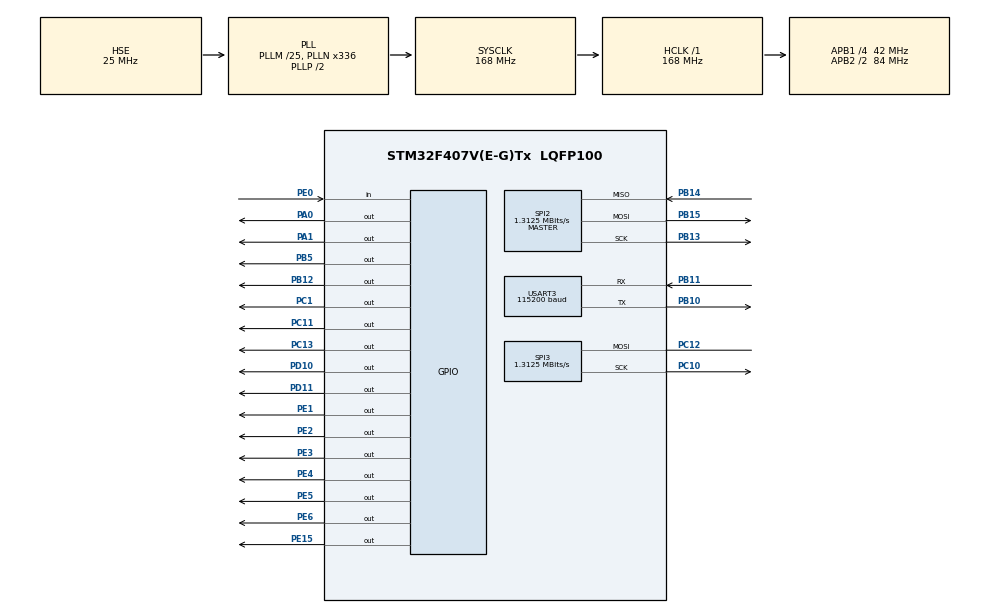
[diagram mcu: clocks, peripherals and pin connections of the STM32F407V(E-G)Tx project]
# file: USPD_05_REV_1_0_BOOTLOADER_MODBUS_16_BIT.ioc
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Dma.Request0=USART3_TX
Dma.Request1=USART3_RX
Dma.USART3_RX.1.Direction=DMA_PERIPH_TO_MEMORY
Dma.USART3_RX.1.FIFOMode=DMA_FIFOMODE_DISABLE
Dma.USART3_RX.1.Instance=DMA1_Stream1
Dma.USART3_RX.1.MemDataAlignment=DMA_MDATAALIGN_BYTE
Dma.USART3_RX.1.MemInc=DMA_MINC_ENABLE
Dma.USART3_RX.1.Mode=DMA_NORMAL
Dma.USART3_RX.1.PeriphDataAlignment=DMA_PDATAALIGN_BYTE
Dma.USART3_RX.1.PeriphInc=DMA_PINC_DISABLE
Dma.USART3_RX.1.Priority=DMA_PRIORITY_LOW
Dma.USART3_TX.0.Direction=DMA_MEMORY_TO_PERIPH
Dma.USART3_TX.0.FIFOMode=DMA_FIFOMODE_DISABLE
Dma.USART3_TX.0.Instance=DMA1_Stream3
Dma.USART3_TX.0.MemDataAlignment=DMA_MDATAALIGN_BYTE
Dma.USART3_TX.0.MemInc=DMA_MINC_ENABLE
Dma.USART3_TX.0.Mode=DMA_NORMAL
Dma.USART3_TX.0.PeriphDataAlignment=DMA_PDATAALIGN_BYTE
Dma.USART3_TX.0.PeriphInc=DMA_PINC_DISABLE
Dma.USART3_TX.0.Priority=DMA_PRIORITY_LOW
FREERTOS.INCLUDE_vTaskCleanUpResources=1
FREERTOS.INCLUDE_vTaskDelayUntil=1
FREERTOS.INCLUDE_xQueueGetMutexHolder=1
FREERTOS.INCLUDE_xSemaphoreGetMutexHolder=1
FREERTOS.Tasks01=defaultTask,0,128,StartDefaultTask,Default,NULL,Dynamic,NULL,NULL
FREERTOS.configTIMER_TASK_PRIORITY=5
FREERTOS.configTOTAL_HEAP_SIZE=30000
FREERTOS.configUSE_COUNTING_SEMAPHORES=1
FREERTOS.configUSE_NEWLIB_REENTRANT=1
FREERTOS.configUSE_TIMERS=1
IWDG.Prescaler=IWDG_PRESCALER_32
IWDG.Reload=4000
Mcu.Family=STM32F4
Mcu.Name=STM32F407V(E-G)Tx
Mcu.Package=LQFP100
NVIC.DMA1_Stream1_IRQn=true\:5\:0\:false\:false\:true\:true\:false\:true\:true
NVIC.DMA1_Stream3_IRQn=true\:5\:0\:false\:false\:true\:true\:false\:true\:true
NVIC.PriorityGroup=NVIC_PRIORITYGROUP_4
NVIC.TIM1_UP_TIM10_IRQn=true\:15\:0\:false\:false\:true\:false\:false\:true\:true
NVIC.TimeBase=TIM1_UP_TIM10_IRQn
NVIC.TimeBaseIP=TIM1
NVIC.USART3_IRQn=true\:5\:0\:false\:false\:true\:true\:true\:true\:true
PA0-WKUP.Signal=GPIO_Output
PA1.Signal=GPIO_Output
PA13.Mode=Serial_Wire
PA13.Signal=SYS_JTMS-SWDIO
PA14.Mode=Serial_Wire
PA14.Signal=SYS_JTCK-SWCLK
PB10.Mode=Asynchronous
PB10.Signal=USART3_TX
PB11.Mode=Asynchronous
PB11.Signal=USART3_RX
PB12.PinState=GPIO_PIN_SET
PB12.Signal=GPIO_Output
PB13.Mode=Full_Duplex_Master
PB13.Signal=SPI2_SCK
PB14.Mode=Full_Duplex_Master
PB14.Signal=SPI2_MISO
PB15.Mode=Full_Duplex_Master
PB15.Signal=SPI2_MOSI
PB5.Signal=GPIO_Output
PC1.Signal=GPIO_Output
PC10.Mode=Simplex_Bidirectional_Master
PC10.Signal=SPI3_SCK
PC11.PinState=GPIO_PIN_SET
PC11.Signal=GPIO_Output
PC12.Mode=Simplex_Bidirectional_Master
PC12.Signal=SPI3_MOSI
PC13-ANTI_TAMP.Signal=GPIO_Output
PC14-OSC32_IN.Mode=LSE-External-Oscillator
PC14-OSC32_IN.Signal=RCC_OSC32_IN
PC15-OSC32_OUT.Mode=LSE-External-Oscillator
PC15-OSC32_OUT.Signal=RCC_OSC32_OUT
PD10.GPIO_PuPd=GPIO_PULLDOWN
PD10.Signal=GPIO_Output
PD11.GPIO_PuPd=GPIO_PULLDOWN
PD11.Signal=GPIO_Output
PE0.Signal=GPIO_Input
PE1.Signal=GPIO_Output
PE15.GPIO_PuPd=GPIO_PULLDOWN
PE15.Signal=GPIO_Output
PE2.Signal=GPIO_Output
PE3.Signal=GPIO_Output
PE4.Signal=GPIO_Output
PE5.Signal=GPIO_Output
PE6.Signal=GPIO_Output
PH0-OSC_IN.Mode=HSE-External-Oscillator
PH0-OSC_IN.Signal=RCC_OSC_IN
PH1-OSC_OUT.Mode=HSE-External-Oscillator
PH1-OSC_OUT.Signal=RCC_OSC_OUT
ProjectManager.HeapSize=0x200
ProjectManager.StackSize=0x400
ProjectManager.TargetToolchain=STM32CubeIDE
RCC.48MHZClocksFreq_Value=84000000
RCC.AHBFreq_Value=168000000
RCC.APB1CLKDivider=RCC_HCLK_DIV4
RCC.APB1Freq_Value=42000000
RCC.APB1TimFreq_Value=84000000
RCC.APB2CLKDivider=RCC_HCLK_DIV2
RCC.APB2Freq_Value=84000000
RCC.APB2TimFreq_Value=168000000
RCC.CortexFreq_Value=168000000
RCC.HCLKFreq_Value=168000000
RCC.HSE_VALUE=25000000
RCC.HSI_VALUE=16000000
RCC.PLLM=25
RCC.PLLN=336
RCC.PLLSourceVirtual=RCC_PLLSOURCE_HSE
RCC.RCC_RTC_Clock_SourceVirtual=RCC_RTCCLKSOURCE_LSE
RCC.SYSCLKFreq_VALUE=168000000
RCC.SYSCLKSource=RCC_SYSCLKSOURCE_PLLCLK
RCC.VCOOutputFreq_Value=336000000
SPI2.BaudRatePrescaler=SPI_BAUDRATEPRESCALER_32
SPI2.CalculateBaudRate=1.3125 MBits/s
SPI2.Direction=SPI_DIRECTION_2LINES
SPI2.Mode=SPI_MODE_MASTER
SPI2.VirtualType=VM_MASTER
SPI3.BaudRatePrescaler=SPI_BAUDRATEPRESCALER_32
SPI3.CalculateBaudRate=1.3125 MBits/s
SPI3.Direction=SPI_DIRECTION_1LINE
SPI3.Mode=SPI_MODE_MASTER
SPI3.VirtualType=VM_MASTER
USART3.BaudRate=115200
USART3.VirtualMode=VM_ASYNC
VP_FREERTOS_VS_CMSIS_V1.Mode=CMSIS_V1
VP_IWDG_VS_IWDG.Mode=IWDG_Activate
VP_RTC_VS_RTC_Activate.Mode=RTC_Enabled
VP_RTC_VS_RTC_Calendar.Mode=RTC_Calendar
VP_SYS_VS_tim1.Mode=TIM1
board=custom

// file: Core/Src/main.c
/* USER CODE BEGIN Header */
/**
  ******************************************************************************
  * @file           : main.c
  * @brief          : Main program body
  ******************************************************************************
  * @attention
  *
  * Copyright (c) 2024 STMicroelectronics.
  * All rights reserved.
  *
  * This software is licensed under terms that can be found in the LICENSE file
  * in the root directory of this software component.
  * If no LICENSE file comes with this software, it is provided AS-IS.
  *
  ******************************************************************************
  */
/* USER CODE END Header */
#include "main.h"
#include "cmsis_os.h"

/* USER CODE BEGIN Includes */

#include "gpio.h"
#include "m95.h"
#include "fm25v02.h"
#include "modbus.h"

/* USER CODE END Includes */

 IWDG_HandleTypeDef hiwdg;

RTC_HandleTypeDef hrtc;

SPI_HandleTypeDef hspi2;
SPI_HandleTypeDef hspi3;

UART_HandleTypeDef huart3;
DMA_HandleTypeDef hdma_usart3_tx;
DMA_HandleTypeDef hdma_usart3_rx;

osThreadId defaultTaskHandle;
/* USER CODE BEGIN PV */

osMessageQId ModbusQueueHandle;
osTimerId AT_TimerHandle;
osTimerId Ring_Center_TimerHandle;
osMutexId UartMutexHandle;
osSemaphoreId TransmissionStateHandle;

osThreadId M95TaskHandle;
osThreadId ModbusTaskHandle;
osThreadId MainTaskHandle;
osThreadId ModbusPacketTaskHandle;
osThreadId ReadRegistersTaskHandle;

osMutexId Fm25v02MutexHandle;

osSemaphoreId ModbusPacketReceiveHandle;

uint8_t modem_rx_data[256];
char modem_rx_buffer[256];
uint8_t modbus_buffer[10][6000];
uint8_t modem_rx_number = 0;
//uint8_t modbus_buffer_number = 0;

volatile uint8_t read_rx_state;

extern bootloader_register_struct bootloader_registers;

typedef void (*pFunction) (void);
pFunction Jump_To_Application;
uint32_t JumpAddress;
uint32_t ApplicationAddress2 = 0x08010000;

uint32_t calculating_firmware_crc;
uint32_t start_address;
uint32_t end_address;
uint32_t firmware_length;
uint16_t firmware_crc;

uint32_t start_default_task_delay = 200;

uint8_t test_data1;

uint8_t temp_id_high;
uint8_t temp_id_low;

uint8_t temp_ip1;
uint8_t temp_ip2;
uint8_t temp_ip3;
uint8_t temp_ip4;

uint8_t temp_port_high;
uint8_t temp_port_low;

extern control_register_struct control_registers;

volatile uint8_t modem_reset_state = 0;

uint8_t spi_buf[4];

extern volatile uint8_t modem_transmit_delay_state;
extern volatile uint8_t connect_timer;

/* USER CODE END PV */

void SystemClock_Config(void);
static void MX_GPIO_Init(void);
static void MX_IWDG_Init(void);
static void MX_RTC_Init(void);
static void MX_DMA_Init(void);
static void MX_USART3_UART_Init(void);
static void MX_SPI2_Init(void);
static void MX_SPI3_Init(void);
void StartDefaultTask(void const * argument);

/* USER CODE BEGIN PFP */

void Callback_AT_Timer(void const * argument);
void Callback_Ring_Center_Timer(void const * argument);

void ThreadM95Task(void const * argument);
void ThreadModbusTask(void const * argument);
void ThreadMainTask(void const * argument);
void ThreadModbusPacketTask(void const * argument);
void ThreadReadRegistersTask(void const * argument);

/* USER CODE END PFP */

/* USER CODE BEGIN 0 */

void HAL_UART_TxCpltCallback(UART_HandleTypeDef *huart)
{
	  if (huart->Instance == USART3)
	  {
		  osSemaphoreRelease(TransmissionStateHandle);
	  }
}

void HAL_UART_RxCpltCallback(UART_HandleTypeDef *huart)
{
	  if (huart->Instance == USART3)
	  {
		  connect_timer = 0;

		  modem_rx_buffer[modem_rx_number++] = modem_rx_data[0];
		  osMessagePut(ModbusQueueHandle, (uint32_t)modem_rx_data[0], osWaitForever);
		  HAL_UART_Receive_DMA(&huart3, &modem_rx_data[0], 1);
	  }
}

//void HAL_MspInit(void)
//{

//}

/* USER CODE END 0 */

int main(void)
{
  /* USER CODE BEGIN 1 */

  	uint8_t temp_h;
  	uint8_t temp_l;
  	uint16_t temp_jump_attempt;

  /* USER CODE END 1 */

  /* MCU Configuration--------------------------------------------------------*/

  /* Reset of all peripherals, Initializes the Flash interface and the Systick. */
  HAL_Init();

  /* Configure the system clock */
  SystemClock_Config();

  /* Initialize all configured peripherals */
  MX_GPIO_Init();
  MX_IWDG_Init();
  MX_RTC_Init();
  MX_DMA_Init();
  MX_USART3_UART_Init();
  MX_SPI2_Init();
  MX_SPI3_Init();
  /* USER CODE BEGIN 2 */

	spi_buf[0] = 0x07;
	spi_buf[1] = 0x40;
	spi_buf[2] = 0x40;
	spi_buf[3] = 0x03;

	HAL_GPIO_WritePin(GPIOC, GPIO_PIN_11, GPIO_PIN_RESET);
	HAL_Delay(100);
	if( HAL_SPI_Transmit(&hspi3, &spi_buf[0], 4, 100) != HAL_OK ){}

	HAL_GPIO_WritePin(GPIOC, GPIO_PIN_11, GPIO_PIN_SET);
	HAL_Delay(1);
	HAL_GPIO_WritePin(GPIOC, GPIO_PIN_11, GPIO_PIN_RESET);

  BUZ_ON(); // пикаем бузером
  HAL_Delay(50);
  BUZ_OFF();

  if( ((RCC->BDCR)&0x02) != 0 ) // Проверяем, запустился ли часовой кварц, если запустился включаем светодиод
  {
	  //LED_VD4_ON();
  }
  else
  {
	  //LED_VD4_OFF();
  }

	//for(uint16_t i=0x1000; i<=0x10FF; i++)
	//{
		//fm25v02_write(2*i, 0x00);
		//fm25v02_write(2*i+1, 0x00);
	//}

	fm25v02_write(2*IP_1_REG, 0x00);
	fm25v02_write(2*IP_1_REG+1, 195);
	fm25v02_write(2*IP_2_REG, 0x00);
	fm25v02_write(2*IP_2_REG+1, 208);
	fm25v02_write(2*IP_3_REG, 0x00);
	fm25v02_write(2*IP_3_REG+1, 163);
	fm25v02_write(2*IP_4_REG, 0x00);
	fm25v02_write(2*IP_4_REG+1, 67);
	fm25v02_write(2*PORT_HIGH_REG, 0x00);
	fm25v02_write(2*PORT_HIGH_REG+1, 136);
	fm25v02_write(2*PORT_LOW_REG, 0x00);
	fm25v02_write(2*PORT_LOW_REG+1, 234);

	fm25v02_write(2*ID_HIGH_REG, 0x00);
	fm25v02_write(2*ID_HIGH_REG+1, 0x00);

	fm25v02_write(2*ID_LOW_REG, 0x00);
	fm25v02_write(2*ID_LOW_REG+1, 0x00);

  	read_bootloader_registers_no_rtos(); // читаем ригистры бутлоадера до запуска операционной системы

	start_address = ((((uint32_t)(bootloader_registers.start_address_firmware_high_reg))<<24)&0xFF000000) | ((((uint32_t)(bootloader_registers.start_address_firmware_2_reg))<<16)&0x00FF0000) | ((((uint32_t)(bootloader_registers.start_address_firmware_3_reg))<<8)&0x0000FF00) | (((uint32_t)(bootloader_registers.start_address_firmware_low_reg))&0x000000FF);

	end_address = ((((uint32_t)(bootloader_registers.end_address_firmware_2_reg))<<24)&0xFF000000) | ((((uint32_t)(bootloader_registers.end_address_firmware_3_reg))<<16)&0x00FF0000) | ((((uint32_t)(bootloader_registers.end_address_firmware_high_reg))<<8)&0x0000FF00) | (((uint32_t)(bootloader_registers.end_address_firmware_low_reg))&0x000000FF);

	//end_address = 0x08029EEB;

	firmware_length = end_address - start_address + 1;

	firmware_crc = (((bootloader_registers.crc_firmware_low_reg)<<8)&0xFF00) | ((bootloader_registers.crc_firmware_high_reg)&0x00FF);

	if( (start_address >= 0x08000000) && (start_address <= 0x080FFFFF) && ((start_address + firmware_length) <= 0x080FFFFF) && (firmware_length <= 0xFFFFF) ) // стартовый адресс для расчета контрольной суммы должен входить в диапазон основной памяти контроллера, длина прошивки не должна превышать длину памяти программ контроллера иначе при чтении будет хардфолт
	{
		calculating_firmware_crc = CRC16((unsigned char*)start_address, firmware_length);
	}
	else
	{
		calculating_firmware_crc = 0;
	}

	if( (firmware_crc == calculating_firmware_crc) && (firmware_crc != 0) ) // если рассчетная контрольная сумма прошивки совпадает с указанной и не равна 0
	{

		fm25v02_write(2*FIRMWARE_CORRECTNESS_REG, 0x00); // записываем в регистры и переменную корректность прошивки
		fm25v02_write(2*FIRMWARE_CORRECTNESS_REG+1, 0x01);
		bootloader_registers.firmware_correctness_reg = 0x0001;

	}

	else // если рассчетная контрольная сумма прошивки не совпадает с указанной
	{

		fm25v02_write(2*FIRMWARE_CORRECTNESS_REG, 0x00); // записываем в регистры и переменную ошибку контрольной суммы прошивки
		fm25v02_write(2*FIRMWARE_CORRECTNESS_REG+1, 0x00);
		bootloader_registers.firmware_correctness_reg = 0x0000;

	}

	//----тест, потом удалить
	//fm25v02_write(2*FIRMWARE_CORRECTNESS_REG, 0x00); // записываем в регистры и переменную корректность прошивки
	//fm25v02_write(2*FIRMWARE_CORRECTNESS_REG+1, 0x01);
	//bootloader_registers.firmware_correctness_reg = 0x0001;
	//-----------------------

  	if( bootloader_registers.working_mode_reg == 0 ) // если включен нормальный режим работы
  	{
  		if(bootloader_registers.jump_attempt_reg < bootloader_registers.max_jump_attempt_reg)
  		{
  			if( bootloader_registers.firmware_correctness_reg == 1 ) // если прошивка корректна (контрольная сумма совпадает)
  			{

  				fm25v02_write(2*FIRMWARE_CORRECTNESS_REG, 0x00); // обнуляем корректность прошивки
  				fm25v02_write(2*FIRMWARE_CORRECTNESS_REG+1, 0x00);
  				bootloader_registers.firmware_correctness_reg = 0x0000;

  				fm25v02_write(2*WORKING_MODE_REG, 0x00); // обнуляем корректность прошивки
  				fm25v02_write(2*WORKING_MODE_REG+1, 0x00);
  				bootloader_registers.working_mode_reg = 0x0000;

  				fm25v02_read(271, &test_data1); // обнуляем регистр режима работы с номером 271 в fram памяти, нужно только для старой прошивки

  				HAL_UART_DeInit(&huart3);
  				HAL_SPI_DeInit(&hspi2);
  				HAL_DMA_DeInit(&hdma_usart3_rx);
  				HAL_DMA_DeInit(&hdma_usart3_tx);

  				HAL_RCC_DeInit();

  				HAL_DeInit(); // деинициализируем HAL

  				JumpAddress = *(__IO uint32_t*) (ApplicationAddress2+4); // адрес перехода
  				Jump_To_Application = (pFunction) JumpAddress; // приводим адрес к типу функции
  				__set_MSP (*(__IO uint32_t*) ApplicationAddress2);// устанавливаем указатель стека

  				SCB->VTOR = FLASH_BASE | 0x10000; // смещаем таблицу векторов прерываний

  				Jump_To_Application(); // переход к основной программе

  			}
  			else if( bootloader_registers.firmware_correctness_reg == 0 )
  			{
  				fm25v02_read(2*JUMP_ATTEMPT_REG, &temp_h); // увеличиваем количество попыток перейти в основную программу
  				fm25v02_read(2*JUMP_ATTEMPT_REG+1, &temp_l);
  				temp_jump_attempt = (((uint16_t)temp_h)<<8)|((uint16_t)(temp_l));
  				temp_jump_attempt = temp_jump_attempt + 1;
  				temp_h = (uint8_t)(temp_jump_attempt>>8);
  				temp_l = (uint8_t)(temp_jump_attempt);
  				fm25v02_write(2*JUMP_ATTEMPT_REG, temp_h);
  				fm25v02_write(2*JUMP_ATTEMPT_REG+1, temp_l);

  				HAL_Delay(100);

  				osMutexWait(Fm25v02MutexHandle, osWaitForever); // ждем освобождение мьютекса записи в память
  				NVIC_SystemReset();

  			}
  		}

  		else
  		{
  			start_default_task_delay = 100;
  		}
  	}

  /* USER CODE END 2 */

  /* USER CODE BEGIN RTOS_MUTEX */
  /* add mutexes, ... */

    osMutexDef(UartMutex);
    UartMutexHandle = osMutexCreate(osMutex(UartMutex));

    osMutexDef(Fm25v02Mutex);
    Fm25v02MutexHandle = osMutexCreate(osMutex(Fm25v02Mutex));

  /* USER CODE END RTOS_MUTEX */

  /* USER CODE BEGIN RTOS_SEMAPHORES */
  /* add semaphores, ... */

    osSemaphoreDef(TransmissionState);
    TransmissionStateHandle = osSemaphoreCreate(osSemaphore(TransmissionState), 1);

    osSemaphoreDef(ModbusPacketReceive);
    ModbusPacketReceiveHandle = osSemaphoreCreate(osSemaphore(ModbusPacketReceive), 1);

  /* USER CODE END RTOS_SEMAPHORES */

  /* USER CODE BEGIN RTOS_TIMERS */
  /* start timers, add new ones, ... */

    osTimerDef(AT_Timer, Callback_AT_Timer);
    AT_TimerHandle = osTimerCreate(osTimer(AT_Timer), osTimerOnce, NULL);

    osTimerDef(Ring_Center_Timer, Callback_Ring_Center_Timer);
    Ring_Center_TimerHandle = osTimerCreate(osTimer(Ring_Center_Timer), osTimerOnce, NULL);

  /* USER CODE END RTOS_TIMERS */

  /* USER CODE BEGIN RTOS_QUEUES */
  /* add queues, ... */

    osMessageQDef(ModbusQueue, 6000, uint8_t);
    ModbusQueueHandle = osMessageCreate(osMessageQ(ModbusQueue), NULL);

  /* USER CODE END RTOS_QUEUES */

  /* Create the thread(s) */
  /* definition and creation of defaultTask */
  osThreadDef(defaultTask, StartDefaultTask, osPriorityNormal, 0, 128);
  defaultTaskHandle = osThreadCreate(osThread(defaultTask), NULL);

  /* USER CODE BEGIN RTOS_THREADS */
  /* add threads, ... */

  osThreadDef(M95Task, ThreadM95Task, osPriorityNormal, 0, 128);
  M95TaskHandle = osThreadCreate(osThread(M95Task), NULL);

  osThreadDef(ModbusTask, ThreadModbusTask, osPriorityNormal, 0, 128);
  ModbusTaskHandle = osThreadCreate(osThread(ModbusTask), NULL);

  osThreadDef(MainTask, ThreadMainTask, osPriorityNormal, 0, 128);
  MainTaskHandle = osThreadCreate(osThread(MainTask), NULL);

  osThreadDef(ModbusPacketTask, ThreadModbusPacketTask, osPriorityNormal, 0, 128);
  ModbusPacketTaskHandle = osThreadCreate(osThread(ModbusPacketTask), NULL);

  osThreadDef(ReadRegistersTask, ThreadReadRegistersTask, osPriorityNormal, 0, 128);
  ReadRegistersTaskHandle = osThreadCreate(osThread(ReadRegistersTask), NULL);

  /* USER CODE END RTOS_THREADS */

  /* Start scheduler */
  osKernelStart();

  /* We should never get here as control is now taken by the scheduler */
  /* Infinite loop */
  while (1)
  {

  }
}

void SystemClock_Config(void)
{
  RCC_OscInitTypeDef RCC_OscInitStruct = {0};
  RCC_ClkInitTypeDef RCC_ClkInitStruct = {0};

  /** Configure the main internal regulator output voltage
  */
  __HAL_RCC_PWR_CLK_ENABLE();
  __HAL_PWR_VOLTAGESCALING_CONFIG(PWR_REGULATOR_VOLTAGE_SCALE1);

  /** Initializes the RCC Oscillators according to the specified parameters
  * in the RCC_OscInitTypeDef structure.
  */
  RCC_OscInitStruct.OscillatorType = RCC_OSCILLATORTYPE_LSI|RCC_OSCILLATORTYPE_HSE
                              |RCC_OSCILLATORTYPE_LSE;
  RCC_OscInitStruct.HSEState = RCC_HSE_ON;
  RCC_OscInitStruct.LSEState = RCC_LSE_ON;
  RCC_OscInitStruct.LSIState = RCC_LSI_ON;
  RCC_OscInitStruct.PLL.PLLState = RCC_PLL_ON;
  RCC_OscInitStruct.PLL.PLLSource = RCC_PLLSOURCE_HSE;
  RCC_OscInitStruct.PLL.PLLM = 25;
  RCC_OscInitStruct.PLL.PLLN = 336;
  RCC_OscInitStruct.PLL.PLLP = RCC_PLLP_DIV2;
  RCC_OscInitStruct.PLL.PLLQ = 4;
  if (HAL_RCC_OscConfig(&RCC_OscInitStruct) != HAL_OK)
  {
    Error_Handler();
  }

  /** Initializes the CPU, AHB and APB buses clocks
  */
  RCC_ClkInitStruct.ClockType = RCC_CLOCKTYPE_HCLK|RCC_CLOCKTYPE_SYSCLK
                              |RCC_CLOCKTYPE_PCLK1|RCC_CLOCKTYPE_PCLK2;
  RCC_ClkInitStruct.SYSCLKSource = RCC_SYSCLKSOURCE_PLLCLK;
  RCC_ClkInitStruct.AHBCLKDivider = RCC_SYSCLK_DIV1;
  RCC_ClkInitStruct.APB1CLKDivider = RCC_HCLK_DIV4;
  RCC_ClkInitStruct.APB2CLKDivider = RCC_HCLK_DIV2;

  if (HAL_RCC_ClockConfig(&RCC_ClkInitStruct, FLASH_LATENCY_5) != HAL_OK)
  {
    Error_Handler();
  }
}

static void MX_IWDG_Init(void)
{

  hiwdg.Instance = IWDG;
  hiwdg.Init.Prescaler = IWDG_PRESCALER_32;
  hiwdg.Init.Reload = 4000;
  if (HAL_IWDG_Init(&hiwdg) != HAL_OK)
  {
    Error_Handler();
  }

}

static void MX_RTC_Init(void)
{

  RTC_TimeTypeDef sTime = {0};
  RTC_DateTypeDef sDate = {0};

  /** Initialize RTC Only
  */
  hrtc.Instance = RTC;
  hrtc.Init.HourFormat = RTC_HOURFORMAT_24;
  hrtc.Init.AsynchPrediv = 127;
  hrtc.Init.SynchPrediv = 255;
  hrtc.Init.OutPut = RTC_OUTPUT_DISABLE;
  hrtc.Init.OutPutPolarity = RTC_OUTPUT_POLARITY_HIGH;
  hrtc.Init.OutPutType = RTC_OUTPUT_TYPE_OPENDRAIN;
  if (HAL_RTC_Init(&hrtc) != HAL_OK)
  {
    Error_Handler();
  }

  /** Initialize RTC and set the Time and Date
  */
  sTime.Hours = 0x0;
  sTime.Minutes = 0x0;
  sTime.Seconds = 0x0;
  sTime.DayLightSaving = RTC_DAYLIGHTSAVING_NONE;
  sTime.StoreOperation = RTC_STOREOPERATION_RESET;
  //if (HAL_RTC_SetTime(&hrtc, &sTime, RTC_FORMAT_BCD) != HAL_OK)
  //{
    //Error_Handler();
  //}
  sDate.WeekDay = RTC_WEEKDAY_MONDAY;
  sDate.Month = RTC_MONTH_JANUARY;
  sDate.Date = 0x1;
  sDate.Year = 0x0;

  //if (HAL_RTC_SetDate(&hrtc, &sDate, RTC_FORMAT_BCD) != HAL_OK)
  //{
    //Error_Handler();
  //}

}

static void MX_SPI2_Init(void)
{

  /* SPI2 parameter configuration*/
  hspi2.Instance = SPI2;
  hspi2.Init.Mode = SPI_MODE_MASTER;
  hspi2.Init.Direction = SPI_DIRECTION_2LINES;
  hspi2.Init.DataSize = SPI_DATASIZE_8BIT;
  hspi2.Init.CLKPolarity = SPI_POLARITY_LOW;
  hspi2.Init.CLKPhase = SPI_PHASE_1EDGE;
  hspi2.Init.NSS = SPI_NSS_SOFT;
  hspi2.Init.BaudRatePrescaler = SPI_BAUDRATEPRESCALER_32;
  hspi2.Init.FirstBit = SPI_FIRSTBIT_MSB;
  hspi2.Init.TIMode = SPI_TIMODE_DISABLE;
  hspi2.Init.CRCCalculation = SPI_CRCCALCULATION_DISABLE;
  hspi2.Init.CRCPolynomial = 10;
  if (HAL_SPI_Init(&hspi2) != HAL_OK)
  {
    Error_Handler();
  }

}

static void MX_SPI3_Init(void)
{

  /* SPI3 parameter configuration*/
  hspi3.Instance = SPI3;
  hspi3.Init.Mode = SPI_MODE_MASTER;
  hspi3.Init.Direction = SPI_DIRECTION_1LINE;
  hspi3.Init.DataSize = SPI_DATASIZE_8BIT;
  hspi3.Init.CLKPolarity = SPI_POLARITY_LOW;
  hspi3.Init.CLKPhase = SPI_PHASE_1EDGE;
  hspi3.Init.NSS = SPI_NSS_SOFT;
  hspi3.Init.BaudRatePrescaler = SPI_BAUDRATEPRESCALER_32;
  hspi3.Init.FirstBit = SPI_FIRSTBIT_MSB;
  hspi3.Init.TIMode = SPI_TIMODE_DISABLE;
  hspi3.Init.CRCCalculation = SPI_CRCCALCULATION_DISABLE;
  hspi3.Init.CRCPolynomial = 10;
  if (HAL_SPI_Init(&hspi3) != HAL_OK)
  {
    Error_Handler();
  }

}

static void MX_USART3_UART_Init(void)
{

  huart3.Instance = USART3;
  huart3.Init.BaudRate = 115200;
  huart3.Init.WordLength = UART_WORDLENGTH_8B;
  huart3.Init.StopBits = UART_STOPBITS_1;
  huart3.Init.Parity = UART_PARITY_NONE;
  huart3.Init.Mode = UART_MODE_TX_RX;
  huart3.Init.HwFlowCtl = UART_HWCONTROL_NONE;
  huart3.Init.OverSampling = UART_OVERSAMPLING_16;
  if (HAL_UART_Init(&huart3) != HAL_OK)
  {
    Error_Handler();
  }

}

static void MX_DMA_Init(void)
{

  /* DMA controller clock enable */
  __HAL_RCC_DMA1_CLK_ENABLE();

  /* DMA interrupt init */
  /* DMA1_Stream1_IRQn interrupt configuration */
  HAL_NVIC_SetPriority(DMA1_Stream1_IRQn, 5, 0);
  HAL_NVIC_EnableIRQ(DMA1_Stream1_IRQn);
  /* DMA1_Stream3_IRQn interrupt configuration */
  HAL_NVIC_SetPriority(DMA1_Stream3_IRQn, 5, 0);
  HAL_NVIC_EnableIRQ(DMA1_Stream3_IRQn);

}

static void MX_GPIO_Init(void)
{
  GPIO_InitTypeDef GPIO_InitStruct = {0};

  /* GPIO Ports Clock Enable */
  __HAL_RCC_GPIOE_CLK_ENABLE();
  __HAL_RCC_GPIOC_CLK_ENABLE();
  __HAL_RCC_GPIOH_CLK_ENABLE();
  __HAL_RCC_GPIOA_CLK_ENABLE();
  __HAL_RCC_GPIOB_CLK_ENABLE();
  __HAL_RCC_GPIOD_CLK_ENABLE();

  /*Configure GPIO pin Output Level */
  HAL_GPIO_WritePin(GPIOE, GPIO_PIN_2|GPIO_PIN_3|GPIO_PIN_4|GPIO_PIN_5
                          |GPIO_PIN_6|GPIO_PIN_15|GPIO_PIN_1, GPIO_PIN_RESET);

  /*Configure GPIO pin Output Level */
  HAL_GPIO_WritePin(GPIOC, GPIO_PIN_13|GPIO_PIN_1, GPIO_PIN_RESET);

  /*Configure GPIO pin Output Level */
  HAL_GPIO_WritePin(GPIOA, GPIO_PIN_0|GPIO_PIN_1, GPIO_PIN_RESET);

  /*Configure GPIO pin Output Level */
  HAL_GPIO_WritePin(GPIOB, GPIO_PIN_12, GPIO_PIN_SET);

  /*Configure GPIO pin Output Level */
  HAL_GPIO_WritePin(GPIOD, GPIO_PIN_10|GPIO_PIN_11, GPIO_PIN_RESET);

  /*Configure GPIO pin Output Level */
  HAL_GPIO_WritePin(GPIOC, GPIO_PIN_11, GPIO_PIN_SET);

  /*Configure GPIO pin Output Level */
  HAL_GPIO_WritePin(GPIOB, GPIO_PIN_5, GPIO_PIN_RESET);

  /*Configure GPIO pins : PE2 PE3 PE4 PE5
                           PE6 PE1 */
  GPIO_InitStruct.Pin = GPIO_PIN_2|GPIO_PIN_3|GPIO_PIN_4|GPIO_PIN_5
                          |GPIO_PIN_6|GPIO_PIN_1;
  GPIO_InitStruct.Mode = GPIO_MODE_OUTPUT_PP;
  GPIO_InitStruct.Pull = GPIO_NOPULL;
  GPIO_InitStruct.Speed = GPIO_SPEED_FREQ_LOW;
  HAL_GPIO_Init(GPIOE, &GPIO_InitStruct);

  /*Configure GPIO pins : PC13 PC1 PC11 */
  GPIO_InitStruct.Pin = GPIO_PIN_13|GPIO_PIN_1|GPIO_PIN_11;
  GPIO_InitStruct.Mode = GPIO_MODE_OUTPUT_PP;
  GPIO_InitStruct.Pull = GPIO_NOPULL;
  GPIO_InitStruct.Speed = GPIO_SPEED_FREQ_LOW;
  HAL_GPIO_Init(GPIOC, &GPIO_InitStruct);

  /*Configure GPIO pins : PA0 PA1 */
  GPIO_InitStruct.Pin = GPIO_PIN_0|GPIO_PIN_1;
  GPIO_InitStruct.Mode = GPIO_MODE_OUTPUT_PP;
  GPIO_InitStruct.Pull = GPIO_NOPULL;
  GPIO_InitStruct.Speed = GPIO_SPEED_FREQ_LOW;
  HAL_GPIO_Init(GPIOA, &GPIO_InitStruct);

  /*Configure GPIO pin : PE15 */
  GPIO_InitStruct.Pin = GPIO_PIN_15;
  GPIO_InitStruct.Mode = GPIO_MODE_OUTPUT_PP;
  GPIO_InitStruct.Pull = GPIO_PULLDOWN;
  GPIO_InitStruct.Speed = GPIO_SPEED_FREQ_LOW;
  HAL_GPIO_Init(GPIOE, &GPIO_InitStruct);

  /*Configure GPIO pins : PB12 PB5 */
  GPIO_InitStruct.Pin = GPIO_PIN_12|GPIO_PIN_5;
  GPIO_InitStruct.Mode = GPIO_MODE_OUTPUT_PP;
  GPIO_InitStruct.Pull = GPIO_NOPULL;
  GPIO_InitStruct.Speed = GPIO_SPEED_FREQ_LOW;
  HAL_GPIO_Init(GPIOB, &GPIO_InitStruct);

  /*Configure GPIO pins : PD10 PD11 */
  GPIO_InitStruct.Pin = GPIO_PIN_10|GPIO_PIN_11;
  GPIO_InitStruct.Mode = GPIO_MODE_OUTPUT_PP;
  GPIO_InitStruct.Pull = GPIO_PULLDOWN;
  GPIO_InitStruct.Speed = GPIO_SPEED_FREQ_LOW;
  HAL_GPIO_Init(GPIOD, &GPIO_InitStruct);

  /*Configure GPIO pin : PE0 */
  GPIO_InitStruct.Pin = GPIO_PIN_0;
  GPIO_InitStruct.Mode = GPIO_MODE_INPUT;
  GPIO_InitStruct.Pull = GPIO_NOPULL;
  HAL_GPIO_Init(GPIOE, &GPIO_InitStruct);

}

/* USER CODE BEGIN 4 */

void Callback_AT_Timer(void const * argument)
{

	read_rx_state = NOT_ACTIVE;

}

void Callback_Ring_Center_Timer(void const * argument)
{
	modem_reset_state = 1;
}

/* USER CODE END 4 */

void StartDefaultTask(void const * argument)
{
  /* USER CODE BEGIN 5 */
  /* Infinite loop */
  for(;;)
  {
	//HAL_GPIO_TogglePin(GPIOD, GPIO_PIN_12);
	HAL_IWDG_Refresh(&hiwdg);
	//LED_VD3_TOGGLE();

		spi_buf[0] = 0x07;
		spi_buf[1] = 0x40;
		spi_buf[2] = 0x40;
		spi_buf[3] = 0x03;

		HAL_GPIO_WritePin(GPIOC, GPIO_PIN_11, GPIO_PIN_RESET);
		HAL_Delay(100);
		while( HAL_SPI_Transmit(&hspi3, &spi_buf[0], 4, 100) != HAL_OK ){}

		HAL_GPIO_WritePin(GPIOC, GPIO_PIN_11, GPIO_PIN_SET);
		HAL_Delay(1);
		HAL_GPIO_WritePin(GPIOC, GPIO_PIN_11, GPIO_PIN_RESET);

	osDelay(start_default_task_delay);
  }
  /* USER CODE END 5 */
}

void HAL_TIM_PeriodElapsedCallback(TIM_HandleTypeDef *htim)
{
  if (htim->Instance == TIM1) {
    HAL_IncTick();
  }
}

void Error_Handler(void)
{
  /* USER CODE BEGIN Error_Handler_Debug */

	NVIC_SystemReset();

  /* User can add his own implementation to report the HAL error return state */
  __disable_irq();
  while (1)
  {
  }
  /* USER CODE END Error_Handler_Debug */
}
